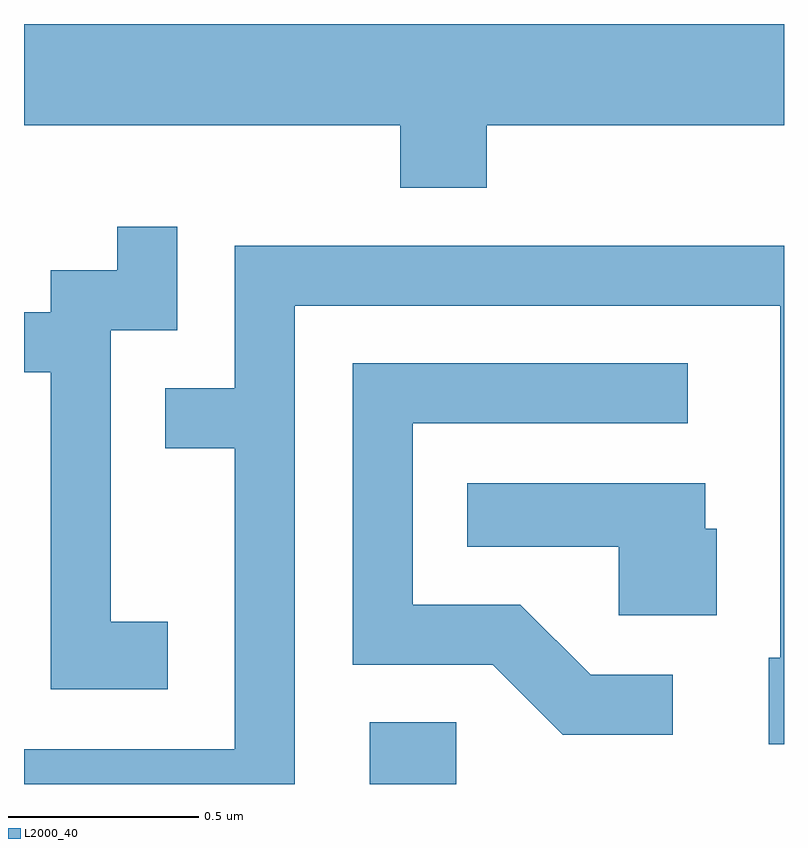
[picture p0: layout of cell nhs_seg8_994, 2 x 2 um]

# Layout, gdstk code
import gdstk
lib = gdstk.Library(unit=1e-6, precision=1e-09)
def R(c, l, rs):  # rectangles x0, y0, x1, y1
    for r in rs: c.add(gdstk.rectangle(r[:2], r[2:], *l))
def P(c, l, *ps):  # polygons
    for p in ps: c.add(gdstk.Polygon(p, *l))
L2000_40 = (2000, 40)

nhs_seg8_994 = lib.new_cell('nhs_seg8_994')
R(nhs_seg8_994, L2000_40, [(193.521,1841.342,193.749,1841.504)])
P(nhs_seg8_994, L2000_40, [(193.829,1843.076),(194.611,1843.076),(194.611,1843.342),(192.611,1843.342),(192.611,1843.076),(193.601,1843.076),(193.601,1842.911),(193.829,1842.911)],
  [(192.989,1841.769),(192.839,1841.769),(192.839,1842.536),(193.014,1842.536),(193.014,1842.808),(192.856,1842.808),(192.856,1842.694),(192.681,1842.694),(192.681,1842.584),(192.611,1842.584),(192.611,1842.426),(192.681,1842.426),(192.681,1841.591),(192.989,1841.591)],
  [(193.324,1842.601),(194.601,1842.601),(194.601,1841.674),(194.571,1841.674),(194.571,1841.446),(194.611,1841.446),(194.611,1842.759),(193.166,1842.759),(193.166,1842.384),(192.983,1842.384),(192.983,1842.226),(193.166,1842.226),(193.166,1841.434),(192.611,1841.434),(192.611,1841.342),(193.324,1841.342)],
  [(194.318,1841.629),(194.102,1841.629),(193.917,1841.814),(193.634,1841.814),(193.634,1842.291),(194.358,1842.291),(194.358,1842.449),(193.476,1842.449),(193.476,1841.656),(193.844,1841.656),(194.029,1841.471),(194.318,1841.471)],
  [(194.434,1842.014),(194.404,1842.014),(194.404,1842.134),(193.778,1842.134),(193.778,1841.966),(194.176,1841.966),(194.176,1841.786),(194.434,1841.786)])

lib.write_gds('nhs_seg8_994.gds')
